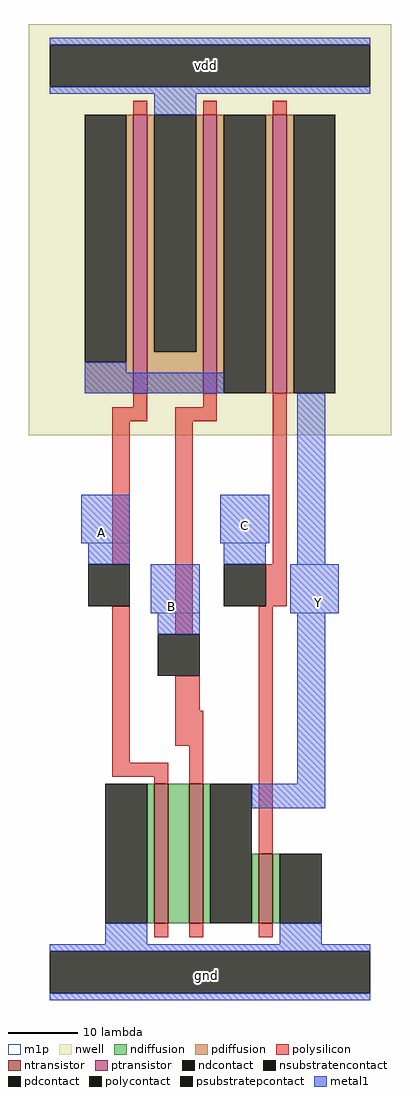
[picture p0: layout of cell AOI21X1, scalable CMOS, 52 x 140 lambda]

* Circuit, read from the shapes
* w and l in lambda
.subckt AOI21X1 A B C Y vdd gnd
M1 n1 A gnd gnd nfet w=20 l=2
M2 Y B n1 gnd nfet w=20 l=2
M3 gnd C Y gnd nfet w=10 l=2
M4 vdd A n2 vdd pfet w=40 l=2
M5 n2 B vdd vdd pfet w=40 l=2
M6 Y C n2 vdd pfet w=40 l=2
.ends

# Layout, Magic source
magic
tech scmos
magscale 1 2
<< nwell >>
rect -12 154 92 272
<< ntransistor >>
rect 24 14 28 54
rect 34 14 38 54
rect 54 14 58 34
<< ptransistor >>
rect 18 166 22 246
rect 38 166 42 246
rect 58 166 62 246
<< ndiffusion >>
rect 22 14 24 54
rect 28 14 34 54
rect 38 14 40 54
rect 52 14 54 34
rect 58 14 60 34
<< pdiffusion >>
rect 16 175 18 246
rect 4 166 18 175
rect 22 178 24 246
rect 36 178 38 246
rect 22 166 38 178
rect 42 166 44 246
rect 56 166 58 246
rect 62 166 64 246
<< ndcontact >>
rect 10 14 22 54
rect 40 14 52 54
rect 60 14 72 34
<< pdcontact >>
rect 4 175 16 246
rect 24 178 36 246
rect 44 166 56 246
rect 64 166 76 246
<< psubstratepcontact >>
rect -6 -6 86 6
<< nsubstratencontact >>
rect -6 254 86 266
<< polysilicon >>
rect 18 246 22 250
rect 38 246 42 250
rect 58 246 62 250
rect 18 162 22 166
rect 38 162 42 166
rect 12 158 22 162
rect 30 158 42 162
rect 12 117 17 158
rect 12 60 17 105
rect 30 97 35 158
rect 58 117 62 166
rect 56 105 62 117
rect 30 75 37 85
rect 30 65 38 75
rect 12 56 28 60
rect 24 54 28 56
rect 34 54 38 65
rect 54 34 58 105
rect 24 10 28 14
rect 34 10 38 14
rect 54 10 58 14
<< polycontact >>
rect 5 105 17 117
rect 44 105 56 117
rect 25 85 37 97
<< metal1 >>
rect -6 266 86 268
rect -6 252 86 254
rect 24 246 36 252
rect 4 172 16 175
rect 4 166 44 172
rect 3 123 17 137
rect 43 123 57 137
rect 5 117 17 123
rect 44 117 56 123
rect 65 117 73 166
rect 23 103 37 117
rect 63 103 77 117
rect 25 97 37 103
rect 65 54 73 103
rect 52 47 73 54
rect 10 8 22 14
rect 60 8 72 14
rect -6 6 86 8
rect -6 -8 86 -6
<< m1p >>
rect 3 123 17 137
rect 43 123 57 137
rect 23 103 37 117
rect 63 103 77 117
<< labels >>
rlabel metal1 39 260 39 260 0 vdd
port 5 nsew power bidirectional abutment
rlabel metal1 39 -1 39 -1 0 gnd
port 6 nsew ground bidirectional abutment
rlabel metal1 9 126 9 126 0 A
port 1 nsew signal input
rlabel metal1 29 105 29 105 0 B
port 2 nsew signal input
rlabel metal1 71 106 71 106 0 Y
port 4 nsew signal output
rlabel metal1 50 128 50 128 0 C
port 3 nsew signal input
<< properties >>
string FIXED_BBOX 0 0 80 260
string LEFclass CORE
string LEFsite core
string LEFsymmetry X Y
<< end >>
